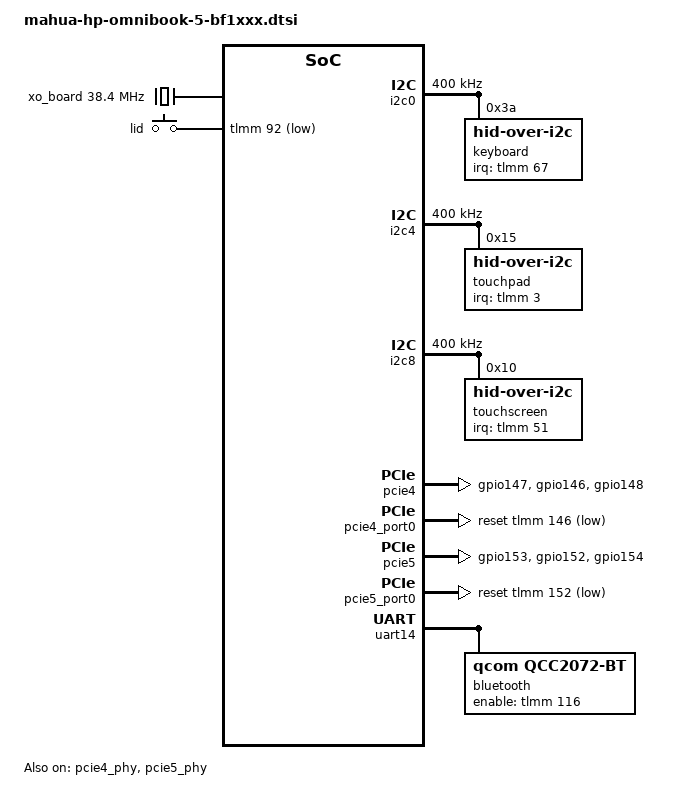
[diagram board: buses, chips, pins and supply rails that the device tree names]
// SPDX-License-Identifier: BSD-3-Clause
/*
 * HP OmniBook 5 Laptop 16-bf1xxx
 */

#include <dt-bindings/gpio/gpio.h>
#include <dt-bindings/input/gpio-keys.h>
#include <dt-bindings/input/input.h>
#include <dt-bindings/interrupt-controller/irq.h>

#include "mahua.dtsi"

/ {
	chassis-type = "laptop";

	aliases {
		i2c0 = &i2c0;
		i2c4 = &i2c4;
		i2c8 = &i2c8;
		serial1 = &uart14;
	};

	chosen {
	};

	clocks {
		sleep_clk: sleep-clk {
			compatible = "fixed-clock";
			clock-frequency = <32000>;
			#clock-cells = <0>;
		};

		xo_board: xo-board {
			compatible = "fixed-clock";
			clock-frequency = <38400000>;
			#clock-cells = <0>;
		};
	};

	gpio-keys {
		compatible = "gpio-keys";

		pinctrl-0 = <&hall_int_n_default>;
		pinctrl-names = "default";

		switch-lid {
			label = "lid";
			gpios = <&tlmm 92 GPIO_ACTIVE_LOW>;
			linux,input-type = <EV_SW>;
			linux,code = <SW_LID>;
			wakeup-source;
			wakeup-event-action = <EV_ACT_DEASSERTED>;
		};
	};
};

&i2c0 {
	clock-frequency = <400000>;

	status = "okay";

	keyboard@3a {
		compatible = "hid-over-i2c";
		reg = <0x3a>;

		hid-descr-addr = <0x1>;
		interrupts-extended = <&tlmm 67 IRQ_TYPE_LEVEL_LOW>;

		pinctrl-0 = <&kybd_default>;
		pinctrl-names = "default";

		wakeup-source;
	};
};

&i2c4 {
	clock-frequency = <400000>;

	status = "okay";

	touchpad@15 {
		compatible = "hid-over-i2c";
		reg = <0x15>;

		hid-descr-addr = <0x1>;
		interrupts-extended = <&tlmm 3 IRQ_TYPE_LEVEL_LOW>;

		pinctrl-0 = <&tpad_default>;
		pinctrl-names = "default";

		wakeup-source;
	};
};

&i2c8 {
	clock-frequency = <400000>;

	status = "okay";

	touchscreen@10 {
		compatible = "hid-over-i2c";
		reg = <0x10>;

		hid-descr-addr = <0x1>;
		interrupts-extended = <&tlmm 51 IRQ_TYPE_LEVEL_LOW>;

		pinctrl-0 = <&ts_default>;
		pinctrl-names = "default";
	};
};

/* Wi-Fi */
&pcie4 {
	pinctrl-0 = <&pcie4_default>;
	pinctrl-names = "default";

	status = "okay";
};

&pcie4_phy {
	status = "okay";
};

&pcie4_port0 {
	reset-gpios = <&tlmm 146 GPIO_ACTIVE_LOW>;
	wake-gpios = <&tlmm 148 GPIO_ACTIVE_LOW>;
};

/* NVMe */
&pcie5 {
	pinctrl-0 = <&pcie5_default>;
	pinctrl-names = "default";

	status = "okay";
};

&pcie5_phy {
	status = "okay";
};

&pcie5_port0 {
	reset-gpios = <&tlmm 152 GPIO_ACTIVE_LOW>;
	wake-gpios = <&tlmm 154 GPIO_ACTIVE_LOW>;
};

&tlmm {
	tpad_default: tpad-default-state {
		pins = "gpio3";
		function = "gpio";
		bias-pull-up;
	};

	ts_default: ts-default-state {
		pins = "gpio51";
		function = "gpio";
		bias-pull-up;
	};

	kybd_default: kybd-default-state {
		pins = "gpio67";
		function = "gpio";
		bias-pull-up;
	};

	hall_int_n_default: hall-int-n-state {
		pins = "gpio92";
		function = "gpio";
		bias-disable;
	};

	pcie4_default: pcie4-default-state {
		clkreq-n-pins {
			pins = "gpio147";
			function = "pcie4_clk_req_n";
			drive-strength = <2>;
			bias-pull-up;
		};

		perst-n-pins {
			pins = "gpio146";
			function = "gpio";
			drive-strength = <2>;
			bias-disable;
		};

		wake-n-pins {
			pins = "gpio148";
			function = "gpio";
			drive-strength = <2>;
			bias-pull-up;
		};
	};

	pcie5_default: pcie5-default-state {
		clkreq-n-pins {
			pins = "gpio153";
			function = "pcie5_clk_req_n";
			drive-strength = <2>;
			bias-pull-up;
		};

		perst-n-pins {
			pins = "gpio152";
			function = "gpio";
			drive-strength = <2>;
			bias-disable;
		};

		wake-n-pins {
			pins = "gpio154";
			function = "gpio";
			drive-strength = <2>;
			bias-pull-up;
		};
	};
};

&uart21 {
	status = "disabled";
};

/* APSS CoreSight trace path, unused */
&{/etm-0} {
	status = "disabled";
};

&{/etm-1} {
	status = "disabled";
};

&{/etm-2} {
	status = "disabled";
};

&{/etm-3} {
	status = "disabled";
};

&{/etm-4} {
	status = "disabled";
};

&{/etm-5} {
	status = "disabled";
};

&{/etm-6} {
	status = "disabled";
};

&{/etm-7} {
	status = "disabled";
};

&{/etm-8} {
	status = "disabled";
};

&{/etm-9} {
	status = "disabled";
};

&{/etm-10} {
	status = "disabled";
};

&{/etm-11} {
	status = "disabled";
};

&{/soc@0/funnel@1d021000} {
	status = "disabled";
};

&{/soc@0/funnel@1d081000} {
	status = "disabled";
};

&{/soc@0/funnel@1d121000} {
	status = "disabled";
};

&{/soc@0/funnel@1d181000} {
	status = "disabled";
};

&{/soc@0/funnel@12080000} {
	status = "disabled";
};

&{/soc@0/replicator@1d0a0000} {
	status = "disabled";
};

&{/soc@0/replicator@1d0b0000} {
	status = "disabled";
};

&{/soc@0/replicator@1d0c0000} {
	status = "disabled";
};

&{/soc@0/replicator@1d0d0000} {
	status = "disabled";
};

&{/soc@0/replicator@1d0e0000} {
	status = "disabled";
};

&{/soc@0/replicator@1d1a0000} {
	status = "disabled";
};

&{/soc@0/replicator@1d1b0000} {
	status = "disabled";
};

&{/soc@0/replicator@1d1c0000} {
	status = "disabled";
};

&{/soc@0/replicator@1d1d0000} {
	status = "disabled";
};

&{/soc@0/replicator@1d1e0000} {
	status = "disabled";
};

&{/soc@0/replicator@1d090000} {
	status = "disabled";
};

&{/soc@0/replicator@1d190000} {
	status = "disabled";
};

&{/soc@0/tmc@1d029000} {
	status = "disabled";
};

&{/soc@0/tmc@1d129000} {
	status = "disabled";
};

/* The GPU is enabled by the board .dts */
&gpu {
	status = "disabled";
};

&gmu {
	status = "disabled";
};

&gpucc {
	status = "disabled";
};

&gxclkctl {
	status = "disabled";
};

&adreno_smmu {
	status = "disabled";
};

&uart14 {
	status = "okay";

	bluetooth {
		compatible = "qcom,qcc2072-bt";
		enable-gpios = <&tlmm 116 GPIO_ACTIVE_HIGH>;
		max-speed = <3200000>;
	};
};
